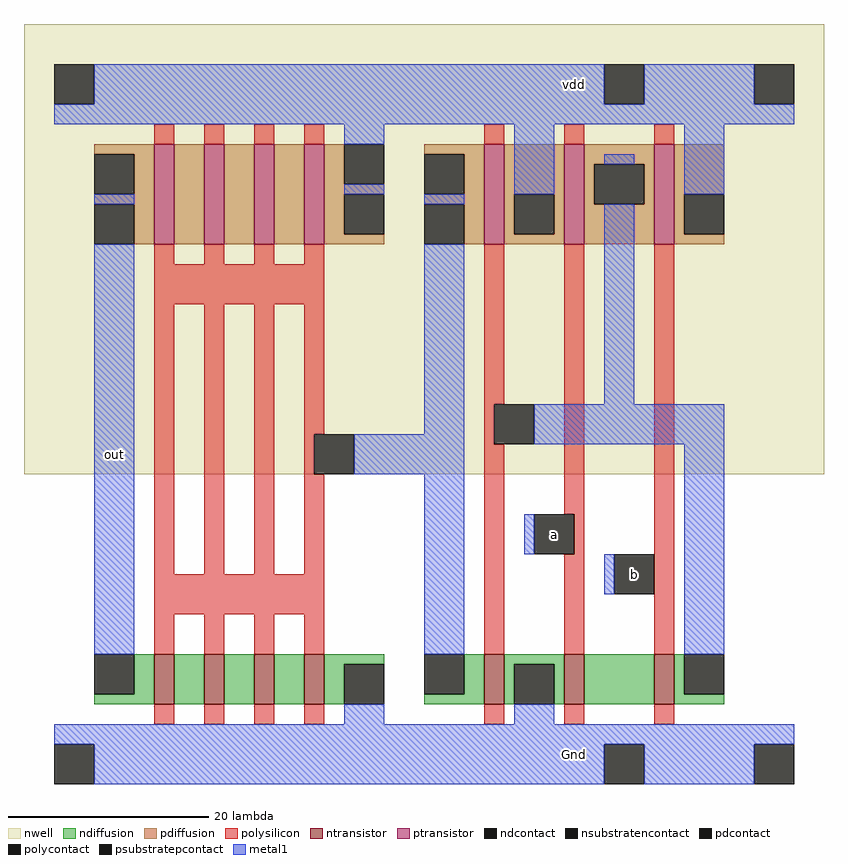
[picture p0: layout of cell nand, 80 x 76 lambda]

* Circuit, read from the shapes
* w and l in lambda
.subckt nand Gnd a b out vdd
M1 n1 n2 out Gnd nfet w=5 l=2
M2 n3 n2 n1 Gnd nfet w=5 l=2
M3 n4 n2 n3 Gnd nfet w=5 l=2
M4 Gnd n2 n4 Gnd nfet w=5 l=2
M5 Gnd n5 n2 Gnd nfet w=5 l=2
M6 n6 a Gnd Gnd nfet w=5 l=2
M7 n5 b n6 Gnd nfet w=5 l=2
M8 n7 n2 out vdd pfet w=10 l=2
M9 n8 n2 n7 vdd pfet w=10 l=2
M10 n9 n2 n8 vdd pfet w=10 l=2
M11 vdd n2 n9 vdd pfet w=10 l=2
M12 vdd n5 n2 vdd pfet w=10 l=2
M13 n5 a vdd vdd pfet w=10 l=2
M14 vdd b n5 vdd pfet w=10 l=2
.ends

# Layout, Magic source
magic
tech min2
<< nwell >>
rect -52 24 28 69
<< ntransistor >>
rect -39 1 -37 6
rect -34 1 -32 6
rect -29 1 -27 6
rect -24 1 -22 6
rect -6 1 -4 6
rect 2 1 4 6
rect 11 1 13 6
<< ptransistor >>
rect -39 47 -37 57
rect -34 47 -32 57
rect -29 47 -27 57
rect -24 47 -22 57
rect -6 47 -4 57
rect 2 47 4 57
rect 11 47 13 57
<< ndiffusion >>
rect -41 2 -39 6
rect -45 1 -39 2
rect -37 1 -34 6
rect -32 1 -29 6
rect -27 1 -24 6
rect -22 5 -16 6
rect -22 1 -20 5
rect -8 2 -6 6
rect -12 1 -6 2
rect -4 5 2 6
rect -4 1 -3 5
rect 1 1 2 5
rect 4 1 11 6
rect 13 2 14 6
rect 13 1 18 2
<< pdiffusion >>
rect -45 56 -39 57
rect -41 52 -39 56
rect -45 51 -39 52
rect -41 47 -39 51
rect -37 47 -34 57
rect -32 47 -29 57
rect -27 47 -24 57
rect -22 53 -20 57
rect -22 52 -16 53
rect -22 48 -20 52
rect -22 47 -16 48
rect -12 56 -6 57
rect -8 52 -6 56
rect -12 51 -6 52
rect -8 47 -6 51
rect -4 52 2 57
rect -4 48 -3 52
rect 1 48 2 52
rect -4 47 2 48
rect 4 55 11 57
rect 4 51 5 55
rect 10 51 11 55
rect 4 47 11 51
rect 13 52 18 57
rect 13 48 14 52
rect 13 47 18 48
<< ndcontact >>
rect -45 2 -41 6
rect -20 1 -16 5
rect -12 2 -8 6
rect -3 1 1 5
rect 14 2 18 6
<< pdcontact >>
rect -45 52 -41 56
rect -45 47 -41 51
rect -20 53 -16 57
rect -20 48 -16 52
rect -12 52 -8 56
rect -12 47 -8 51
rect -3 48 1 52
rect 5 51 10 55
rect 14 48 18 52
<< psubstratepcontact >>
rect -49 -7 -45 -3
rect 6 -7 10 -3
rect 21 -7 25 -3
<< nsubstratencontact >>
rect -49 61 -45 65
rect 6 61 10 65
rect 21 61 25 65
<< polysilicon >>
rect -39 57 -37 59
rect -34 57 -32 59
rect -29 57 -27 59
rect -24 57 -22 59
rect -6 57 -4 59
rect 2 57 4 59
rect 11 57 13 59
rect -39 45 -37 47
rect -34 45 -32 47
rect -29 45 -27 47
rect -24 45 -22 47
rect -39 41 -22 45
rect -39 14 -37 41
rect -34 14 -32 41
rect -29 14 -27 41
rect -24 28 -22 41
rect -6 31 -4 47
rect -24 24 -23 28
rect -6 27 -5 31
rect -24 14 -22 24
rect -39 10 -22 14
rect -39 6 -37 10
rect -34 6 -32 10
rect -29 6 -27 10
rect -24 6 -22 10
rect -6 6 -4 27
rect 2 20 4 47
rect 3 16 4 20
rect 2 6 4 16
rect 11 6 13 47
rect -39 -1 -37 1
rect -34 -1 -32 1
rect -29 -1 -27 1
rect -24 -1 -22 1
rect -6 -1 -4 1
rect 2 -1 4 1
rect 11 -1 13 1
<< polycontact >>
rect -23 24 -19 28
rect -5 27 -1 31
rect -1 16 3 20
rect 7 12 11 16
<< metal1 >>
rect -45 61 6 65
rect 10 61 21 65
rect -49 59 25 61
rect -20 57 -16 59
rect -45 51 -41 52
rect -20 52 -16 53
rect -12 51 -8 52
rect -45 6 -41 47
rect -3 52 1 59
rect 6 55 9 56
rect 14 52 18 59
rect -12 28 -8 47
rect 6 31 9 51
rect -19 24 -8 28
rect -1 27 18 31
rect -12 6 -8 24
rect -2 16 -1 20
rect 6 12 7 16
rect 14 6 18 27
rect -20 -1 -16 1
rect -3 -1 1 1
rect -49 -3 25 -1
rect -45 -7 6 -3
rect 10 -7 21 -3
<< labels >>
rlabel polycontact 9 14 9 14 1 b
rlabel metal1 3 -4 3 -4 1 Gnd
rlabel metal1 3 63 3 63 5 vdd
rlabel polycontact 1 18 1 18 1 a
rlabel metal1 -43 26 -43 26 1 out
<< end >>
